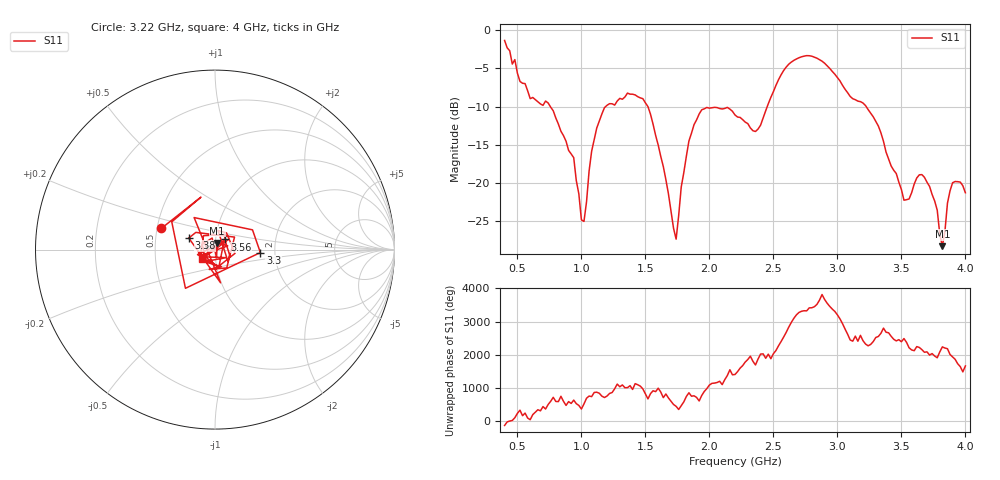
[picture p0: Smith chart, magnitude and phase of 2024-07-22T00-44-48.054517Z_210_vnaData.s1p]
!Created with skrf (http://scikit-rf.org).
# Hz S RI R 50.0
!freq ReS11 ImS11
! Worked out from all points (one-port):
!   181 points, 400 MHz to 4 GHz, reference 50 ohm
!   lowest |S11| = -28.3 dB at 3.82 GHz (marker M1), VSWR 1.08, Z = 51 + j3.76 ohm
!   |S11| at or under -10 dB: 757.5 MHz to 1.189 GHz (431.4 MHz wide, 44.3 % of centre); 1.52 GHz to 2.452 GHz (931.7 MHz wide, 46.9 % of centre); 3.225 GHz to end of sweep
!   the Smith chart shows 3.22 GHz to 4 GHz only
!   S11 on the Smith chart (normalised r, x): 3.22 GHz: 0.53, +0.14; 3.3 GHz: 1.68, -0.06; 3.38 GHz: 0.74, +0.10; 3.56 GHz: 1.11, +0.13; 4 GHz: 0.87, -0.09
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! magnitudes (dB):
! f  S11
! 400 MHz  -1.3
! 600 MHz  -9.0
! 740 MHz  -9.5
! 860 MHz  -13.8
! 940 MHz  -16.7
! 1 GHz  -24.8
! 1.02 GHz  -25.0
! 1.12 GHz  -12.8
! 1.3 GHz  -8.9
! 1.52 GHz  -10.0
! 1.74 GHz  -27.4
! 1.76 GHz  -24.3
! 1.84 GHz  -14.5
! 1.92 GHz  -11.0
! 2.2 GHz  -11.1
! 2.36 GHz  -13.3
! 2.66 GHz  -3.9
! 2.88 GHz  -4.0
! 3.1 GHz  -8.7
! 3.22 GHz  -9.9
! 3.3 GHz  -11.9
! 3.38 GHz  -15.9
! 3.56 GHz  -22.1
! 3.68 GHz  -19.3
! 3.78 GHz  -23.6
! 3.82 GHz  -28.3
! 3.9 GHz  -20.0
! 4 GHz  -21.3
